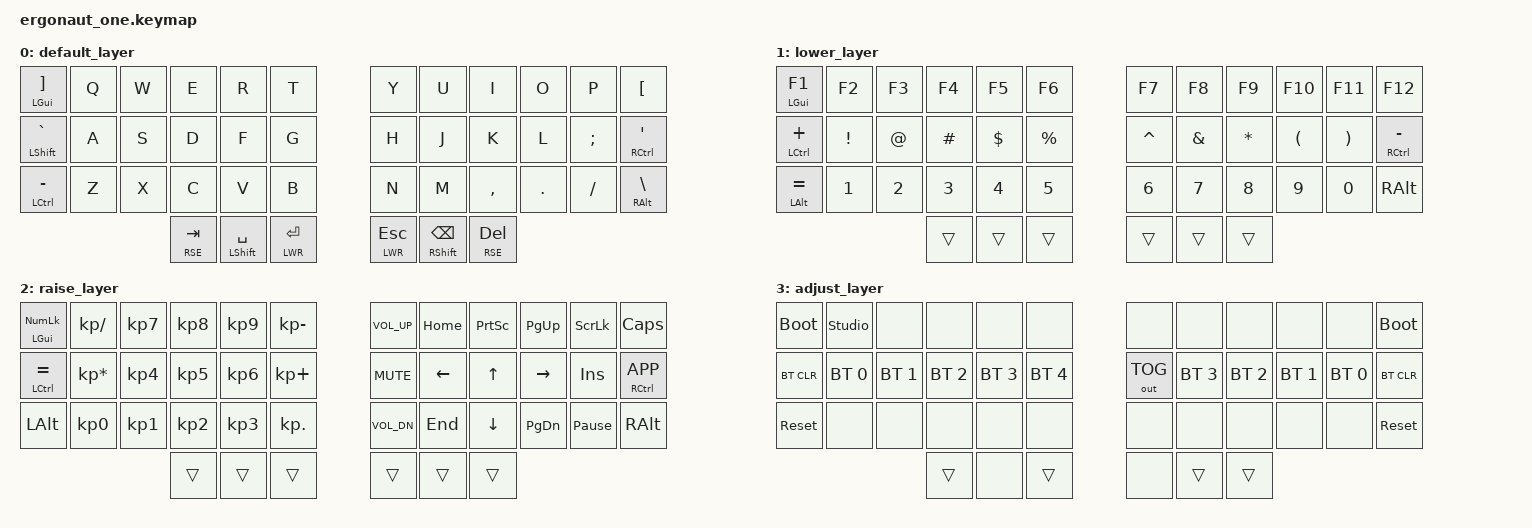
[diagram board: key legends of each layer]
#include <behaviors.dtsi>
#include <dt-bindings/zmk/bt.h>
#include <dt-bindings/zmk/keys.h>
#include <dt-bindings/zmk/outputs.h>

#define DEF 0
#define LWR 1
#define RSE 2
#define ADJ 3

/ {
    behaviors {
        lt_quick: lt_quick {
            compatible = "zmk,behavior-hold-tap";
            #binding-cells = <2>;
            flavor = "hold-preferred";
            tapping-term-ms = <200>;
            quick-tap-ms = <200>;
            bindings = <&mo>, <&kp>;
        };
        mt_quick: mt_quick {
            compatible = "zmk,behavior-hold-tap";
            #binding-cells = <2>;
            flavor = "hold-preferred";
            tapping-term-ms = <200>;
            quick-tap-ms = <200>;
            bindings = <&kp>, <&kp>;
        };
    };

    conditional_layers {
        compatible = "zmk,conditional-layers";
        tri-layer {
            if-layers = <LWR RSE>;
            then-layer = <ADJ>;
        };
    };

    keymap {
        compatible = "zmk,keymap";

        default_layer {
            bindings = <
&mt_quick LGUI RBKT         &kp Q  &kp W  &kp E        &kp R            &kp T        &kp Y        &kp U           &kp I        &kp O    &kp P     &kp LBKT
&mt_quick LEFT_SHIFT GRAVE  &kp A  &kp S  &kp D        &kp F            &kp G        &kp H        &kp J           &kp K        &kp L    &kp SEMI  &mt_quick RCTRL SQT
&mt_quick LCTRL MINUS       &kp Z  &kp X  &kp C        &kp V            &kp B        &kp N        &kp M           &kp COMMA    &kp DOT  &kp FSLH  &mt_quick RALT BSLH
                                          &lt_quick RSE TAB  &mt_quick LSHFT SPACE  &lt_quick LWR RET  &lt_quick LWR ESC  &mt_quick RSHFT BSPC  &lt_quick RSE DEL
            >;
        };

        lower_layer {
            bindings = <
&mt_quick LGUI F1     &kp F2    &kp F3  &kp F4    &kp F5    &kp F6     &kp F7     &kp F8    &kp F9    &kp F10   &kp F11   &kp F12
&mt_quick LCTRL PLUS  &kp EXCL  &kp AT  &kp HASH  &kp DLLR  &kp PRCNT  &kp CARET  &kp AMPS  &kp STAR  &kp LPAR  &kp RPAR  &mt_quick RCTRL MINUS
&mt_quick LALT EQUAL  &kp N1    &kp N2  &kp N3    &kp N4    &kp N5     &kp N6     &kp N7    &kp N8    &kp N9    &kp N0    &kp RALT
                                        &trans    &trans    &trans     &trans     &trans    &trans
            >;
        };

        raise_layer {
            bindings = <
&mt_quick LGUI KP_NUM  &kp KP_SLASH     &kp KP_N7  &kp KP_N8  &kp KP_N9  &kp KP_MINUS  &kp C_VOL_UP  &kp HOME  &kp PSCRN  &kp PG_UP  &kp SLCK         &kp CLCK
&mt_quick LCTRL EQUAL  &kp KP_MULTIPLY  &kp KP_N4  &kp KP_N5  &kp KP_N6  &kp KP_PLUS   &kp C_MUTE    &kp LEFT  &kp UP     &kp RIGHT  &kp INS          &mt_quick RCTRL K_APP
&kp LALT               &kp KP_N0        &kp KP_N1  &kp KP_N2  &kp KP_N3  &kp KP_DOT    &kp C_VOL_DN  &kp END   &kp DOWN   &kp PG_DN  &kp PAUSE_BREAK  &kp RALT
                                                   &trans     &trans     &trans        &trans        &trans    &trans
            >;
        };

        adjust_layer {
            bindings = <
&bootloader  &studio_unlock  &none         &none         &none         &none         &none         &none         &none         &none         &none         &bootloader
&bt BT_CLR   &bt BT_SEL 0    &bt BT_SEL 1  &bt BT_SEL 2  &bt BT_SEL 3  &bt BT_SEL 4  &out OUT_TOG  &bt BT_SEL 3  &bt BT_SEL 2  &bt BT_SEL 1  &bt BT_SEL 0  &bt BT_CLR
&sys_reset   &none           &none         &none         &none         &none         &none         &none         &none         &none         &none         &sys_reset
                                           &trans        &none         &trans        &none         &trans        &trans
            >;
        };
    };
};
